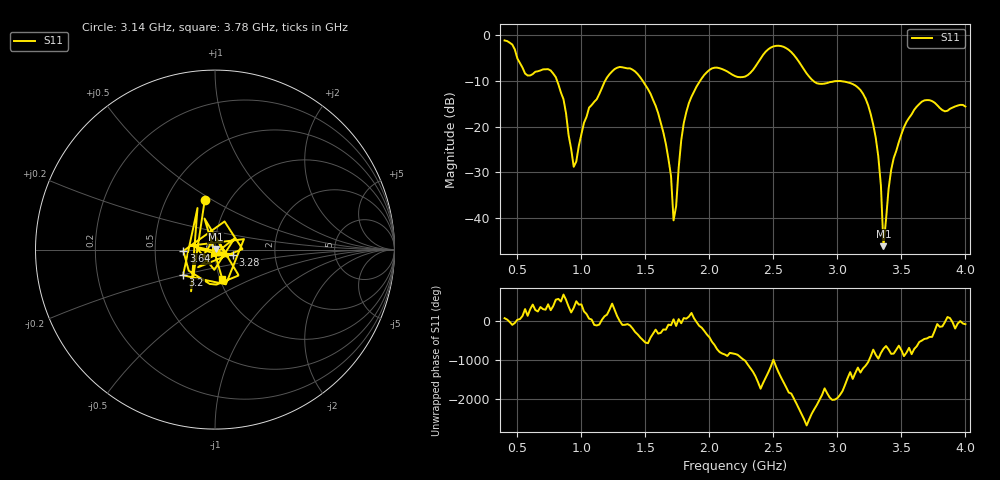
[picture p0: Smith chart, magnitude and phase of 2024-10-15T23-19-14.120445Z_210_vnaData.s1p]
! Created with skrf (http://scikit-rf.org).
# Hz S RI R 50.0
!freq ReS11 ImS11
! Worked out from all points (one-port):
!   181 points, 400 MHz to 4 GHz, reference 50 ohm
!   lowest |S11| = -46.1 dB at 3.36 GHz (marker M1), VSWR 1.01, Z = 50.5 + j0.0605 ohm
!   |S11| at or under -10 dB: 810.3 MHz to 1.185 GHz (375.1 MHz wide, 37.6 % of centre); 1.479 GHz to 1.927 GHz (448.4 MHz wide, 26.3 % of centre); 2.811 GHz to end of sweep
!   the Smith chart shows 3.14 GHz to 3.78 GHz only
!   S11 on the Smith chart (normalised r, x): 3.14 GHz: 0.77, +0.46; 3.2 GHz: 0.67, -0.20; 3.28 GHz: 1.22, -0.07; 3.64 GHz: 0.70, -0.01; 3.78 GHz: 1.03, -0.35
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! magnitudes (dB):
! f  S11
! 400 MHz  -1.2
! 580 MHz  -8.8
! 760 MHz  -7.7
! 860 MHz  -14.0
! 940 MHz  -28.8
! 1.06 GHz  -15.8
! 1.3 GHz  -7.0
! 1.58 GHz  -15.4
! 1.68 GHz  -27.1
! 1.72 GHz  -40.4
! 1.76 GHz  -28.9
! 1.82 GHz  -16.8
! 1.92 GHz  -10.3
! 2.2 GHz  -8.9
! 2.5 GHz  -2.5
! 2.66 GHz  -4.4
! 2.84 GHz  -10.5
! 3.1 GHz  -10.5
! 3.14 GHz  -11.0
! 3.2 GHz  -12.8
! 3.28 GHz  -19.6
! 3.34 GHz  -32.9
! 3.36 GHz  -46.1
! 3.42 GHz  -29.4
! 3.56 GHz  -18.1
! 3.64 GHz  -15.1
! 3.78 GHz  -15.3
! 4 GHz  -15.6
